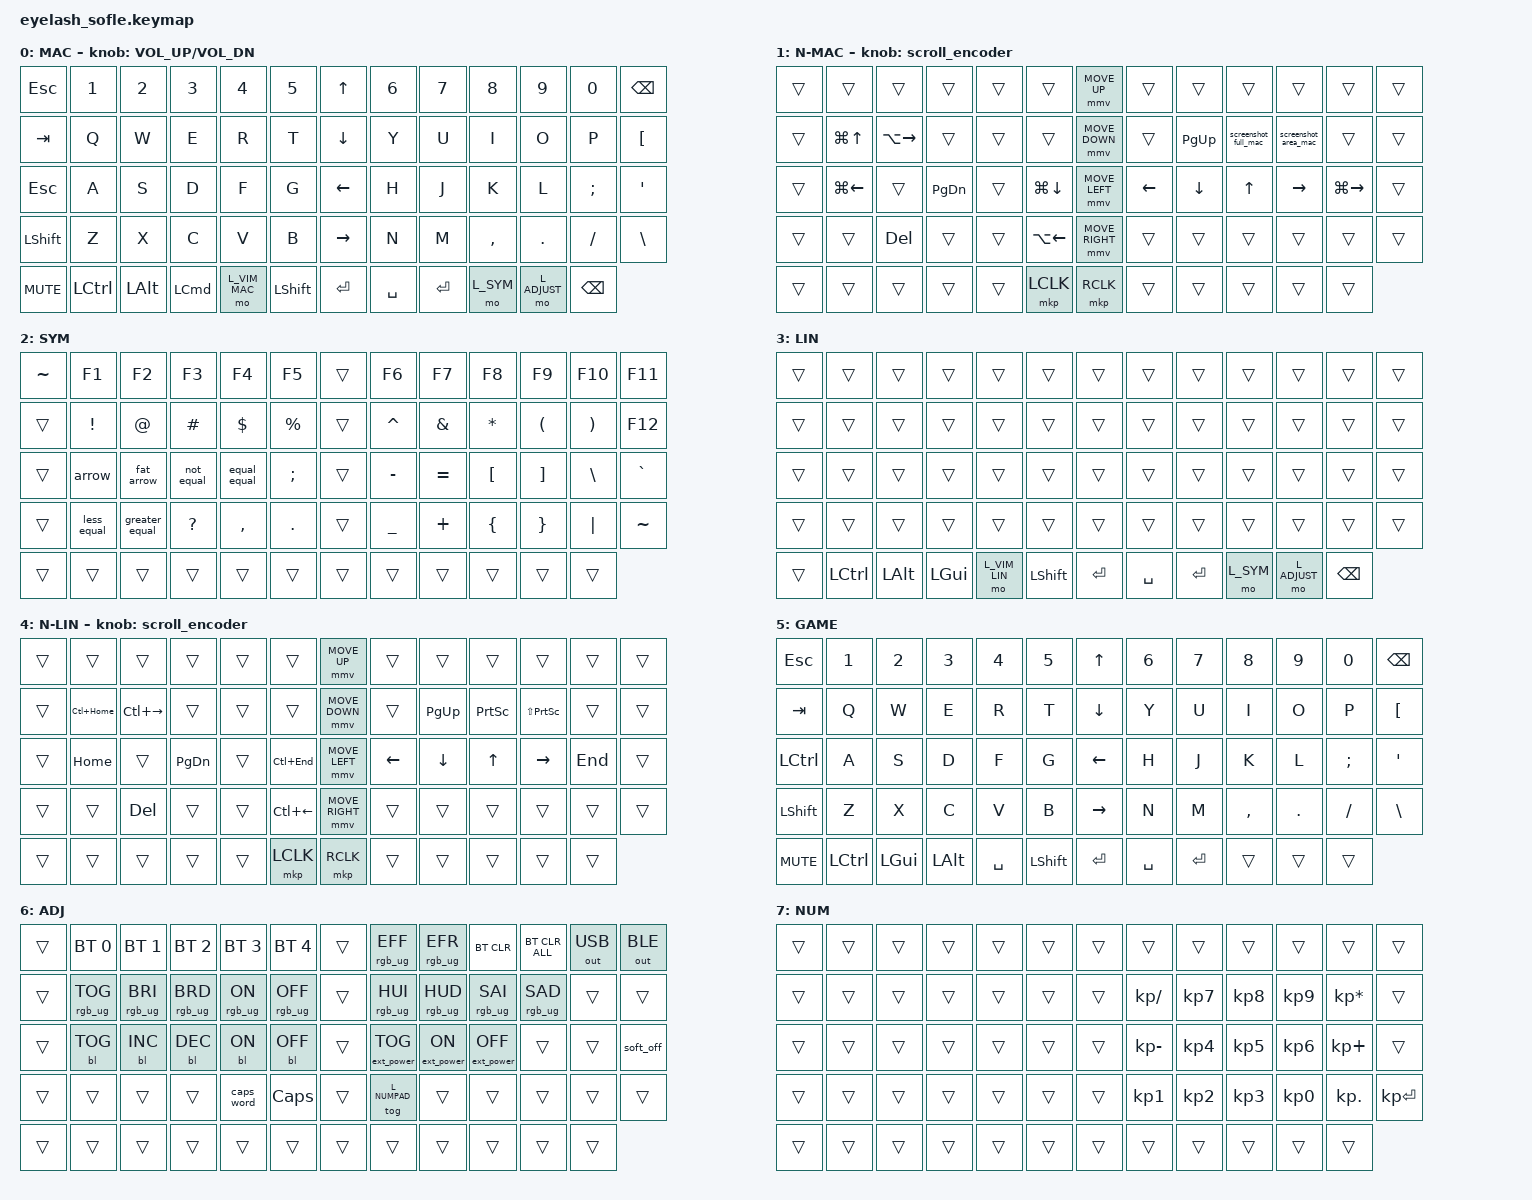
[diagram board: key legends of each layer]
#define ZMK_POINTING_DEFAULT_MOVE_VAL 600
#define ZMK_POINTING_DEFAULT_SCRL_VAL 80
//	ESC N1 N2 N3 N4 N5 ↑ N6 N7 N8 N9 N0 BACKSPACE	0–12
//	TAB Q W E R T ↓ Y U I O P [	13–25
//	ESC A S D F G ← H J K L ; '	26–38
//	LSHIFT Z X C V B → N M , . / \	39–51
//	MUTE LCTRL LALT LCMD (MO1) LSHIFT ENTER (LT2 SPACE) ENTER (MO2) — —	52–63

#define L_MAC        0
#define L_VIM_MAC    1
#define L_SYM        2
#define L_LIN        3
#define L_VIM_LIN    4
#define L_GAME       5
#define L_ADJUST     6
#define L_NUMPAD     7

#include <input/processors.dtsi>
#include <zephyr/dt-bindings/input/input-event-codes.h>
#include <behaviors.dtsi>
#include <dt-bindings/zmk/backlight.h>
#include <dt-bindings/zmk/bt.h>
#include <dt-bindings/zmk/keys.h>
#include <dt-bindings/zmk/outputs.h>
#include <dt-bindings/zmk/pointing.h>
#include <dt-bindings/zmk/rgb.h>
#include <dt-bindings/zmk/ext_power.h>

&mmv_input_listener { input-processors = <&zip_xy_scaler 2 1>; };
&msc_input_listener { input-processors = <&zip_scroll_scaler 2 1>; };

&msc {
    acceleration-exponent = <0>;
    time-to-max-speed-ms = <100>;
    delay-ms = <0>;
};

&mmv {
    time-to-max-speed-ms = <500>;
    acceleration-exponent = <0>;
    trigger-period-ms = <16>;
};

&soft_off {
    hold-time-ms = <2000>;
};

/ {
    behaviors {
        to_lin: to_lin {
            compatible = "zmk,behavior-macro";
            #binding-cells = <0>;
            bindings = <&rgb_ug RGB_ON>, <&rgb_ug RGB_COLOR_HSB(120,55,100)>, <&to L_LIN>;
        };

        to_game: to_game {
            compatible = "zmk,behavior-macro";
            #binding-cells = <0>;
            bindings = <&rgb_ug RGB_ON>, <&to L_GAME>, <&rgb_ug RGB_COLOR_HSB(150, 10, 10)>;
        };

        to_mac: to_mac {
            compatible = "zmk,behavior-macro";
            #binding-cells = <0>;
            bindings = <&rgb_ug RGB_ON>, <&rgb_ug RGB_COLOR_HSB(0,0,100)>, <&to L_MAC>;
        };

        scroll_encoder: scroll_encoder {
            compatible = "zmk,behavior-sensor-rotate";
            #sensor-binding-cells = <0>;
            bindings = <&msc SCRL_DOWN>, <&msc SCRL_UP>;
            tap-ms = <100>;
        };

        // Programming macros
        arrow: arrow {
            compatible = "zmk,behavior-macro";
            #binding-cells = <0>;
            bindings = <&kp MINUS &kp GT>;
        };

        fat_arrow: fat_arrow {
            compatible = "zmk,behavior-macro";
            #binding-cells = <0>;
            bindings = <&kp EQUAL &kp GT>;
        };

        not_equal: not_equal {
            compatible = "zmk,behavior-macro";
            #binding-cells = <0>;
            bindings = <&kp EXCL &kp EQUAL>;
        };

        equal_equal: equal_equal {
            compatible = "zmk,behavior-macro";
            #binding-cells = <0>;
            bindings = <&kp EQUAL &kp EQUAL>;
        };

        greater_equal: greater_equal {
            compatible = "zmk,behavior-macro";
            #binding-cells = <0>;
            bindings = <&kp GT &kp EQUAL>;
        };

        less_equal: less_equal {
            compatible = "zmk,behavior-macro";
            #binding-cells = <0>;
            bindings = <&kp LT &kp EQUAL>;
        };

        // Screenshot macros
        screenshot_full_mac: screenshot_full_mac {
            compatible = "zmk,behavior-macro";
            #binding-cells = <0>;
            bindings = <&kp LG(LS(N3))>;
        };

        screenshot_area_mac: screenshot_area_mac {
            compatible = "zmk,behavior-macro";
            #binding-cells = <0>;
            bindings = <&kp LG(LS(N4))>;
        };
    };

    // I/O на NAV-слоях = скриншот целиком/области, mac и linux версии.

    combos {
        compatible = "zmk,combos";
        
        // --- циклическое переключение (кнопки 7, 8, 9 на правой руке) ---
        // работает на любом из базовых слоев

        cycle_mac_to_lin { 
            timeout-ms = <150>; 
            key-positions = <9 10 11>; 
            bindings = <&to_lin>; 
            layers = <L_MAC>; 
        };

        cycle_lin_to_game { 
            timeout-ms = <150>; 
            key-positions = <9 10 11>; 
            bindings = <&to_game>; 
            layers = <L_LIN>; 
        };

        cycle_game_to_mac { 
            timeout-ms = <150>; 
            key-positions = <9 10 11>; 
            bindings = <&to_mac>; 
            layers = <L_GAME>; 
        };


        // --- ОБЩИЕ КОМБО ---
        combo_esc { timeout-ms = <50>; key-positions = <27 28>; bindings = <&kp ESC>; layers = <L_MAC L_LIN>; };
        combo_lctrl { timeout-ms = <50>; key-positions = <28 29>; bindings = <&kp LCTRL>; layers = <L_MAC L_LIN>; };
        combo_lalt { timeout-ms = <50>; key-positions = <29 30>; bindings = <&kp LEFT_ALT>; layers = <L_MAC L_LIN>; };
        combo_ralt { timeout-ms = <50>; key-positions = <34 35>; bindings = <&kp RIGHT_ALT>; layers = <L_MAC L_LIN>; };
        combo_rctrl { timeout-ms = <50>; key-positions = <35 36>; bindings = <&kp RCTRL>; layers = <L_MAC L_LIN>; };

        // --- BOOTLOADER / RESET (только на ADJ, обе пинки нижний ряд) ---
        combo_bootloader { timeout-ms = <100>; key-positions = <39 51>; bindings = <&bootloader>; layers = <L_ADJUST>; };
        combo_sys_reset  { timeout-ms = <100>; key-positions = <0 12>; bindings = <&sys_reset>; layers = <L_ADJUST>; };

    };

    keymap {
        compatible = "zmk,keymap";

        layer_mac {
            display-name = "MAC";
            bindings = <
&kp ESC      &kp N1     &kp N2        &kp N3            &kp N4      &kp N5       &kp UP_ARROW     &kp N6     &kp N7     &kp N8     &kp N9            &kp N0       &kp BACKSPACE
&kp TAB      &kp Q      &kp W         &kp E             &kp R       &kp T        &kp DOWN_ARROW   &kp Y      &kp U      &kp I      &kp O             &kp P        &kp LBKT
&kp ESC      &kp A      &kp S         &kp D             &kp F       &kp G        &kp LEFT_ARROW   &kp H      &kp J      &kp K      &kp L             &kp SEMI     &kp APOS
&kp LSHFT    &kp Z      &kp X         &kp C             &kp V       &kp B        &kp RIGHT_ARROW  &kp N      &kp M      &kp COMMA  &kp DOT           &kp SLASH    &kp BSLH
&kp C_MUTE   &kp LCTRL  &kp LALT      &kp LCMD          &mo L_VIM_MAC &kp LSHFT  &kp ENTER        &kp SPACE  &kp ENTER  &mo L_SYM  &mo L_ADJUST      &kp BSPC
            >;
            sensor-bindings = <&inc_dec_kp C_VOLUME_UP C_VOL_DN>;
        };

        layer_vim_mac {
            display-name = "N-MAC";
            bindings = <
&trans       &trans        &trans        &trans            &trans     &trans     &mmv MOVE_UP     &trans     &trans     &trans     &trans        &trans       &trans
&trans       &kp LG(UP)    &kp LA(RIGHT) &trans            &trans     &trans     &mmv MOVE_DOWN   &trans     &kp PG_UP  &screenshot_full_mac &screenshot_area_mac &trans       &trans
&trans       &kp LG(LEFT)  &trans        &kp PG_DN         &trans     &kp LG(DOWN) &mmv MOVE_LEFT &kp LEFT   &kp DOWN   &kp UP     &kp RIGHT     &kp LG(RIGHT) &trans
&trans       &trans        &kp DEL       &trans            &trans     &kp LA(LEFT) &mmv MOVE_RIGHT &trans     &trans     &trans     &trans        &trans       &trans
&trans       &trans        &trans        &trans            &trans     &mkp LCLK  &mkp RCLK        &trans     &trans     &trans     &trans        &trans
            >;
            sensor-bindings = <&scroll_encoder>;
        };

        layer_sym {
            display-name = "SYM";
            bindings = <
&kp TILDE    &kp F1     &kp F2        &kp F3            &kp F4     &kp F5     &trans           &kp F6     &kp F7     &kp F8     &kp F9            &kp F10      &kp F11
&trans       &kp EXCL   &kp AT        &kp HASH          &kp DLLR   &kp PRCNT  &trans           &kp CARET  &kp AMPS   &kp STAR   &kp LPAR          &kp RPAR     &kp F12
&trans       &arrow     &fat_arrow    &not_equal        &equal_equal &kp SEMI &trans           &kp MINUS  &kp EQUAL  &kp LBKT   &kp RBKT          &kp BSLH     &kp GRAVE
&trans       &less_equal &greater_equal &kp QMARK      &kp COMMA  &kp DOT    &trans           &kp UNDER  &kp PLUS   &kp LBRC   &kp RBRC          &kp PIPE     &kp TILDE
&trans       &trans     &trans        &trans            &trans     &trans     &trans           &trans     &trans     &trans     &trans            &trans
            >;
        };

        layer_linux {
            display-name = "LIN";
            bindings = <
&trans &trans &trans &trans &trans &trans &trans &trans &trans &trans &trans &trans &trans
&trans &trans &trans &trans &trans &trans &trans &trans &trans &trans &trans &trans &trans
&trans &trans &trans &trans &trans &trans &trans &trans &trans &trans &trans &trans &trans
&trans &trans     &trans        &trans            &trans      &trans     &trans           &trans     &trans     &trans     &trans            &trans   &trans
&trans &kp LCTRL  &kp LALT      &kp LGUI          &mo L_VIM_LIN &kp LSHFT &kp ENTER       &kp SPACE  &kp ENTER  &mo L_SYM  &mo L_ADJUST      &kp BSPC
            >;
        };

        layer_vim_lin {
            display-name = "N-LIN";
            bindings = <
&trans       &trans        &trans        &trans            &trans     &trans     &mmv MOVE_UP     &trans     &trans     &trans     &trans        &trans       &trans
&trans       &kp LC(HOME)  &kp LC(RIGHT) &trans            &trans     &trans     &mmv MOVE_DOWN   &trans     &kp PG_UP  &kp PSCRN  &kp LS(PSCRN) &trans       &trans
&trans       &kp HOME      &trans        &kp PG_DN         &trans     &kp LC(END) &mmv MOVE_LEFT  &kp LEFT   &kp DOWN   &kp UP     &kp RIGHT     &kp END      &trans
&trans       &trans        &kp DEL       &trans            &trans     &kp LC(LEFT) &mmv MOVE_RIGHT &trans     &trans     &trans     &trans        &trans       &trans
&trans       &trans        &trans        &trans            &trans     &mkp LCLK  &mkp RCLK        &trans     &trans     &trans     &trans        &trans
            >;
            sensor-bindings = <&scroll_encoder>;
        };

        layer_gaming {
            display-name = "GAME";
            bindings = <
&kp ESC      &kp N1     &kp N2        &kp N3            &kp N4     &kp N5     &kp UP           &kp N6     &kp N7     &kp N8     &kp N9            &kp N0       &kp BSPC
&kp TAB      &kp Q      &kp W         &kp E             &kp R      &kp T      &kp DOWN         &kp Y      &kp U      &kp I      &kp O             &kp P        &kp LBKT
&kp LCTRL    &kp A      &kp S         &kp D             &kp F      &kp G      &kp LEFT         &kp H      &kp J      &kp K      &kp L             &kp SEMI     &kp APOS
&kp LSHFT    &kp Z      &kp X         &kp C             &kp V      &kp B      &kp RIGHT        &kp N      &kp M      &kp COMMA  &kp DOT           &kp SLASH    &kp BSLH
&kp C_MUTE   &kp LCTRL  &kp LGUI      &kp LALT          &kp SPACE  &kp LSHFT  &kp ENTER        &kp SPACE  &kp ENTER  &trans     &trans            &trans
            >;
        };

        layer_adjust {
            display-name = "ADJ";
            bindings = <
&trans       &bt BT_SEL 0    &bt BT_SEL 1    &bt BT_SEL 2    &bt BT_SEL 3    &bt BT_SEL 4    &trans           &rgb_ug RGB_EFF &rgb_ug RGB_EFR &bt BT_CLR      &bt BT_CLR_ALL  &out OUT_USB    &out OUT_BLE
&trans       &rgb_ug RGB_TOG &rgb_ug RGB_BRI &rgb_ug RGB_BRD &rgb_ug RGB_ON  &rgb_ug RGB_OFF &trans           &rgb_ug RGB_HUI &rgb_ug RGB_HUD &rgb_ug RGB_SAI &rgb_ug RGB_SAD &trans          &trans
&trans       &bl BL_TOG      &bl BL_INC      &bl BL_DEC      &bl BL_ON       &bl BL_OFF      &trans           &ext_power EP_TOG &ext_power EP_ON &ext_power EP_OFF &trans        &trans          &soft_off
&trans       &trans          &trans          &trans          &caps_word      &kp CAPS        &trans           &tog L_NUMPAD   &trans          &trans          &trans          &trans          &trans
&trans       &trans          &trans          &trans          &trans          &trans          &trans           &trans          &trans          &trans          &trans          &trans
            >;
        };

        layer_numpad {
            display-name = "NUM";
            bindings = <
&trans       &trans        &trans        &trans            &trans     &trans     &trans           &trans     &trans     &trans     &trans        &trans       &trans
&trans       &trans        &trans        &trans            &trans     &trans     &trans           &kp KP_DIVIDE &kp KP_N7 &kp KP_N8 &kp KP_N9  &kp KP_MULTIPLY &trans
&trans       &trans        &trans        &trans            &trans     &trans     &trans           &kp KP_MINUS  &kp KP_N4 &kp KP_N5 &kp KP_N6  &kp KP_PLUS     &trans
&trans       &trans        &trans        &trans            &trans     &trans     &trans           &kp KP_N1     &kp KP_N2 &kp KP_N3 &kp KP_N0  &kp KP_DOT      &kp KP_ENTER
&trans       &trans        &trans        &trans            &trans     &trans     &trans           &trans     &trans     &trans     &trans        &trans
            >;
        };
    };
};
